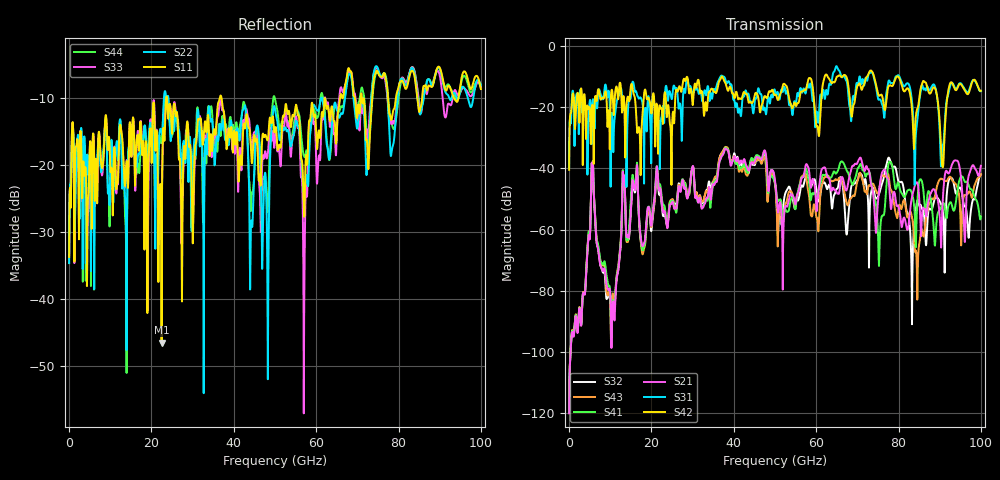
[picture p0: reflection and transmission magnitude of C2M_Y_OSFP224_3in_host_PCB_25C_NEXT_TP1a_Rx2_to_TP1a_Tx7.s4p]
# GHz S RI R 45
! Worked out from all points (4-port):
!   4000 points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, 25 MHz to 100 GHz, reference 45 ohm
!   strongest paths, dB at 25 MHz, 25.02 GHz, 50.02 GHz, 75.03 GHz, 100 GHz:
!     S42: -40.4, -26.7, -15.9, -15.6, -14.6
!     S31: -39.7, -17.1, -14.7, -17.1, -14.7
!     S21: -120.1, -51.1, -44.0, -50.7, -39.1
!     S41: -119.7, -50.7, -44.8, -61.6, -55.7
!     S43: -119.4, -50.0, -45.3, -48.1, -41.8
!     S32: -119.8, -50.2, -44.7, -49.2, -42.0
!   lowest |S11| = -46.5 dB at 22.48 GHz (marker M1), VSWR 1.01, Z = 44.7 - j0.34 ohm
!   |S11| at or under -10 dB: start of sweep to 23.6 GHz; 23.78 GHz to 36.58 GHz (12.8 GHz wide, 42.4 % of centre); 37.04 GHz to 65.77 GHz (28.73 GHz wide, 55.9 % of centre) (the widest 3 of 9)
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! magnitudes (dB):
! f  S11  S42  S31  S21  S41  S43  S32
! 25 MHz  -33.7  -40.4  -39.7  -120.1  -119.7  -119.4  -119.8
! 5.75 GHz  -16.4  -19.8  -18.1  -38.4  -38.1  -38.2  -38.4
! 10.5 GHz  -23.9  -14.8  -23.0  -86.5  -85.0  -81.6  -83.1
! 13.25 GHz  -19.4  -16.4  -19.9  -43.9  -43.6  -43.5  -43.8
! 22.48 GHz  -46.5  -20.3  -23.1  -50.3  -49.0  -50.4  -51.7
! 84.42 GHz  -9.2  -21.1  -26.0  -44.5  -55.2  -71.4  -51.4
! 100 GHz  -8.6  -14.6  -14.7  -39.1  -55.7  -41.8  -42.0
